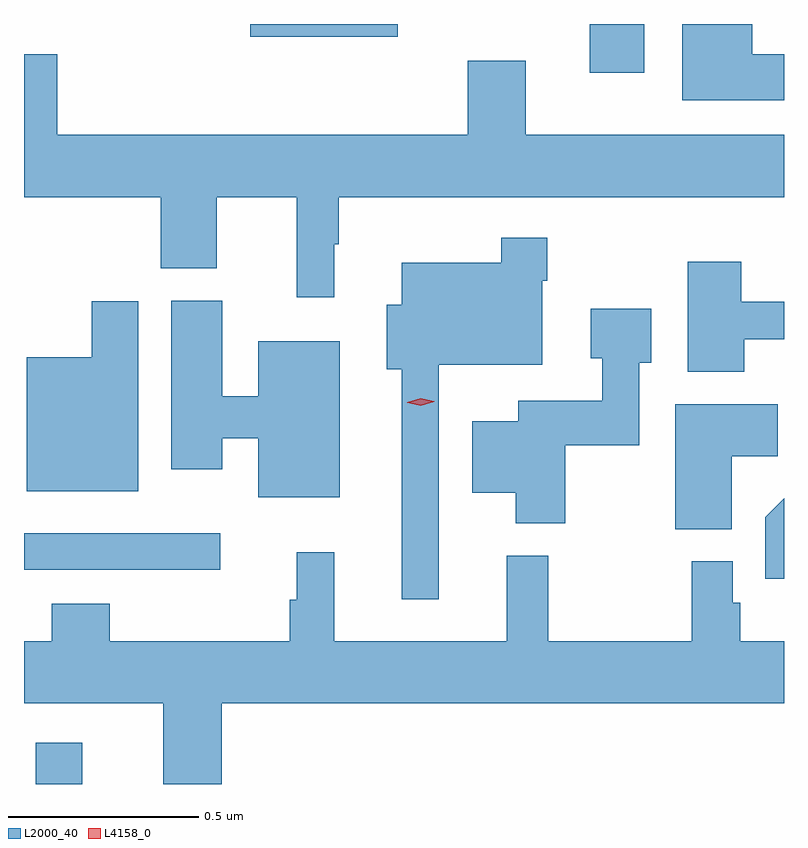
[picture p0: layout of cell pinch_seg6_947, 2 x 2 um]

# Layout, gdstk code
import gdstk
lib = gdstk.Library(unit=1e-6, precision=1e-09)
def R(c, l, rs):  # rectangles x0, y0, x1, y1
    for r in rs: c.add(gdstk.rectangle(r[:2], r[2:], *l))
def P(c, l, *ps):  # polygons
    for p in ps: c.add(gdstk.Polygon(p, *l))
L2000_40 = (2000, 40)
L4158_0 = (4158, 0)

pinch_seg6_947 = lib.new_cell('pinch_seg6_947')
R(pinch_seg6_947, L2000_40, [(149.897,925.812,150.019,925.921), (149.866,926.376,150.382,926.472), (151.355,927.684,151.498,927.812), (150.462,927.779,150.85,927.812)])
P(pinch_seg6_947, L2000_40, [(151.866,927.733),(151.783,927.733),(151.783,927.812),(151.598,927.812),(151.598,927.611),(151.866,927.611)],
  [(150.682,927.233),(150.694,927.233),(150.694,927.356),(151.866,927.356),(151.866,927.52),(151.186,927.52),(151.186,927.715),(151.034,927.715),(151.034,927.52),(149.954,927.52),(149.954,927.732),(149.866,927.732),(149.866,927.356),(150.226,927.356),(150.226,927.169),(150.373,927.169),(150.373,927.356),(150.584,927.356),(150.584,927.093),(150.682,927.093)],
  [(150.957,926.915),(151.23,926.915),(151.23,927.137),(151.243,927.137),(151.243,927.25),(151.122,927.25),(151.122,927.184),(150.86,927.184),(150.86,927.073),(150.821,927.073),(150.821,926.903),(150.86,926.903),(150.86,926.298),(150.957,926.298)],
  [(151.761,926.982),(151.866,926.982),(151.866,927.081),(151.753,927.081),(151.753,927.187),(151.613,927.187),(151.613,926.897),(151.761,926.897)],
  [(150.697,926.977),(150.482,926.977),(150.482,926.833),(150.388,926.833),(150.388,927.084),(150.254,927.084),(150.254,926.64),(150.388,926.64),(150.388,926.722),(150.482,926.722),(150.482,926.567),(150.697,926.567)],
  [(150.166,927.082),(150.044,927.082),(150.044,926.935),(149.873,926.935),(149.873,926.582),(150.166,926.582)],
  [(151.29,926.704),(151.485,926.704),(151.485,926.921),(151.516,926.921),(151.516,927.063),(151.358,927.063),(151.358,926.933),(151.388,926.933),(151.388,926.82),(151.166,926.82),(151.166,926.767),(151.046,926.767),(151.046,926.579),(151.16,926.579),(151.16,926.498),(151.29,926.498)],
  [(151.729,926.674),(151.85,926.674),(151.85,926.812),(151.58,926.812),(151.58,926.483),(151.729,926.483)],
  [(151.866,926.564),(151.816,926.514),(151.816,926.352),(151.866,926.352)],
  [(151.731,926.289),(151.731,926.398),(151.623,926.398),(151.623,926.188),(151.246,926.188),(151.246,926.413),(151.136,926.413),(151.136,926.188),(150.683,926.188),(150.683,926.422),(150.584,926.422),(150.584,926.297),(150.565,926.297),(150.565,926.188),(150.092,926.188),(150.092,926.287),(149.939,926.287),(149.939,926.188),(149.866,926.188),(149.866,926.024),(150.233,926.024),(150.233,925.812),(150.386,925.812),(150.386,926.024),(151.866,926.024),(151.866,926.188),(151.751,926.188),(151.751,926.289)])
P(pinch_seg6_947, L4158_0, [(150.91,926.807),(150.874,926.815),(150.874,926.815),(150.874,926.816),(150.91,926.827),(150.945,926.819),(150.946,926.819),(150.945,926.818)])

lib.write_gds('pinch_seg6_947.gds')
